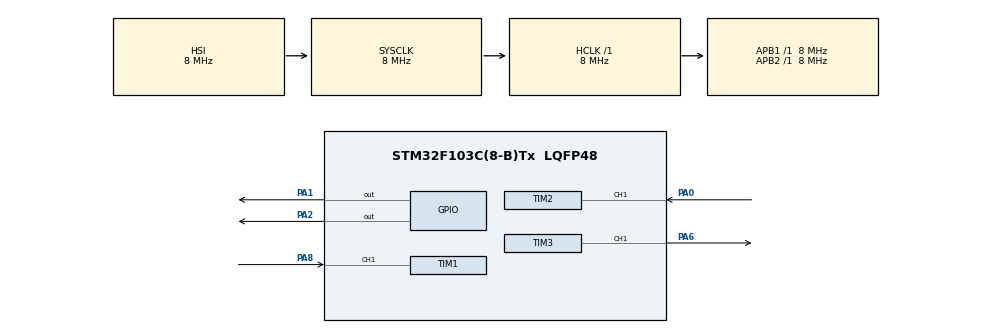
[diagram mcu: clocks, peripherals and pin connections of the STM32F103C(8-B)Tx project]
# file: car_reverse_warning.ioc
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Mcu.Family=STM32F1
Mcu.Name=STM32F103C(8-B)Tx
Mcu.Package=LQFP48
NVIC.PriorityGroup=NVIC_PRIORITYGROUP_4
NVIC.TIM1_CC_IRQn=true\:0\:0\:false\:false\:true\:true\:true\:true
NVIC.TIM2_IRQn=true\:0\:0\:false\:false\:true\:true\:true\:true
PA0-WKUP.Signal=S_TIM2_CH1_ETR
PA1.GPIO_ModeDefaultOutputPP=GPIO_MODE_OUTPUT_PP
PA1.GPIO_PuPd=GPIO_NOPULL
PA1.Signal=GPIO_Output
PA13.Mode=Serial_Wire
PA13.Signal=SYS_JTMS-SWDIO
PA14.Mode=Serial_Wire
PA14.Signal=SYS_JTCK-SWCLK
PA2.Signal=GPIO_Output
PA6.Signal=S_TIM3_CH1
PA8.Signal=S_TIM1_CH1
PD0-OSC_IN.Mode=HSE-External-Oscillator
PD0-OSC_IN.Signal=RCC_OSC_IN
PD1-OSC_OUT.Mode=HSE-External-Oscillator
PD1-OSC_OUT.Signal=RCC_OSC_OUT
ProjectManager.HeapSize=0x200
ProjectManager.StackSize=0x400
ProjectManager.TargetToolchain=STM32CubeIDE
RCC.AHBFreq_Value=8000000
RCC.APB1Freq_Value=8000000
RCC.APB1TimFreq_Value=8000000
RCC.APB2Freq_Value=8000000
RCC.APB2TimFreq_Value=8000000
RCC.HCLKFreq_Value=8000000
RCC.SYSCLKFreq_VALUE=8000000
RCC.USBFreq_Value=8000000
SH.S_TIM1_CH1.0=TIM1_CH1,Input_Capture1_from_TI1
SH.S_TIM2_CH1_ETR.0=TIM2_CH1,Input_Capture1_from_TI1
SH.S_TIM3_CH1.0=TIM3_CH1,PWM Generation1 CH1
TIM1.AutoReloadPreload=TIM_AUTORELOAD_PRELOAD_ENABLE
TIM1.Channel-Input_Capture1_from_TI1=TIM_CHANNEL_1
TIM1.Prescaler=79
TIM2.AutoReloadPreload=TIM_AUTORELOAD_PRELOAD_ENABLE
TIM2.Channel-Input_Capture1_from_TI1=TIM_CHANNEL_1
TIM2.ClockDivision=TIM_CLOCKDIVISION_DIV1
TIM2.Prescaler=7
TIM3.AutoReloadPreload=TIM_AUTORELOAD_PRELOAD_DISABLE
TIM3.Channel-PWM\ Generation1\ CH1=TIM_CHANNEL_1
TIM3.ClockDivision=TIM_CLOCKDIVISION_DIV1
TIM3.Period=19999
TIM3.Prescaler=7
TIM3.Pulse-PWM\ Generation1\ CH1=1000
VP_TIM1_VS_ClockSourceINT.Mode=Internal
VP_TIM2_VS_ClockSourceINT.Mode=Internal
VP_TIM3_VS_ClockSourceINT.Mode=Internal
board=custom

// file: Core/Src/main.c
/* USER CODE BEGIN Header */
/**
  ******************************************************************************
  * @file           : main.c
  * @brief          : Main program body
  ******************************************************************************
  * @attention
  *
  * Copyright (c) 2023 STMicroelectronics.
  * All rights reserved.
  *
  * This software is licensed under terms that can be found in the LICENSE file
  * in the root directory of this software component.
  * If no LICENSE file comes with this software, it is provided AS-IS.
  *
  ******************************************************************************
  */
/* USER CODE END Header */
#include "main.h"

/* USER CODE BEGIN Includes */
#include <stdio.h>
/* USER CODE END Includes */

TIM_HandleTypeDef htim1;
TIM_HandleTypeDef htim2;
TIM_HandleTypeDef htim3;

/* USER CODE BEGIN PV */
uint32_t turning_angles[]={725,825,925,1025,1125,1025,925,825};
uint8_t chosen_angle = 0;
double distance_factos[]={2,1.5,1,1.5,2,1.5,1,1.5};
uint32_t on_time = 0;
uint32_t off_time = 0;
uint32_t time_difference = 0;
uint8_t is_first_captured = 0;
double measured_distance = 0;
/* USER CODE END PV */

void SystemClock_Config(void);
static void MX_GPIO_Init(void);
static void MX_TIM1_Init(void);
static void MX_TIM2_Init(void);
static void MX_TIM3_Init(void);
/* USER CODE BEGIN PFP */
void delay(int time);
void hcsr04_read(void);
/* USER CODE END PFP */

/* USER CODE BEGIN 0 */

// Create function delay
void delay(int time)
{
  __HAL_TIM_SetCounter(&htim1, 0);
  while(__HAL_TIM_GetCounter(&htim1) < time);
}

// interrupt function input capture
void HAL_TIM_IC_CaptureCallback(TIM_HandleTypeDef *htim)
{
  if (htim->Channel == HAL_TIM_ACTIVE_CHANNEL_1)
  {
    if (is_first_captured == 0)
    {
      on_time = HAL_TIM_ReadCapturedValue(htim, TIM_CHANNEL_1);
      is_first_captured = 1;
      __HAL_TIM_SET_CAPTUREPOLARITY(htim, TIM_CHANNEL_1, TIM_INPUTCHANNELPOLARITY_FALLING);
    }
    else if (is_first_captured == 1)
    {
      off_time = HAL_TIM_ReadCapturedValue(htim, TIM_CHANNEL_1);
      __HAL_TIM_SET_COUNTER(htim, 0);
      if (off_time > on_time)
      {
        time_difference = off_time - on_time;
      }
      else if (on_time > off_time)
      {
        time_difference = (0xffff - on_time) + off_time;
      }
      measured_distance = time_difference * .0343/2;
      is_first_captured = 0;
      __HAL_TIM_SET_CAPTUREPOLARITY(htim, TIM_CHANNEL_1, TIM_INPUTCHANNELPOLARITY_RISING);
      HAL_TIM_IC_Stop_IT(&htim2, TIM_CHANNEL_1);
    }
  }
}

// measure distance function
void hcsr04_read(void)
{
  HAL_GPIO_WritePin(GPIOA, GPIO_PIN_1, GPIO_PIN_SET);
  delay(1);
  HAL_GPIO_WritePin(GPIOA, GPIO_PIN_1, GPIO_PIN_RESET);
  HAL_TIM_IC_Start_IT(&htim2, TIM_CHANNEL_1);
}
/* USER CODE END 0 */

int main(void)
{

  /* MCU Configuration--------------------------------------------------------*/

  /* Reset of all peripherals, Initializes the Flash interface and the Systick. */
  HAL_Init();

  /* Configure the system clock */
  SystemClock_Config();

  /* Initialize all configured peripherals */
  MX_GPIO_Init();
  MX_TIM1_Init();
  MX_TIM2_Init();
  MX_TIM3_Init();

  /* Infinite loop */
  /* USER CODE BEGIN WHILE */

  HAL_TIM_PWM_Start(&htim3, TIM_CHANNEL_1);
  HAL_TIM_IC_Start_IT(&htim1, TIM_CHANNEL_1);

  while (1)
  {
    // servo control
    chosen_angle = chosen_angle % 8;
    __HAL_TIM_SET_COMPARE(&htim3, TIM_CHANNEL_1, turning_angles[chosen_angle]);
    hcsr04_read();

    // warning
    if (measured_distance < 20)
    {
      HAL_GPIO_WritePin(GPIOA, GPIO_PIN_2, GPIO_PIN_SET);
    }
    else {
      HAL_GPIO_WritePin(GPIOA, GPIO_PIN_2, GPIO_PIN_RESET);
    }
    chosen_angle++;
    delay(10000);
    /* USER CODE END WHILE */

  }
}

void SystemClock_Config(void)
{
  RCC_OscInitTypeDef RCC_OscInitStruct = {0};
  RCC_ClkInitTypeDef RCC_ClkInitStruct = {0};

  /** Initializes the RCC Oscillators according to the specified parameters
  * in the RCC_OscInitTypeDef structure.
  */
  RCC_OscInitStruct.OscillatorType = RCC_OSCILLATORTYPE_HSI;
  RCC_OscInitStruct.HSIState = RCC_HSI_ON;
  RCC_OscInitStruct.HSICalibrationValue = RCC_HSICALIBRATION_DEFAULT;
  RCC_OscInitStruct.PLL.PLLState = RCC_PLL_NONE;
  if (HAL_RCC_OscConfig(&RCC_OscInitStruct) != HAL_OK)
  {
    Error_Handler();
  }

  /** Initializes the CPU, AHB and APB buses clocks
  */
  RCC_ClkInitStruct.ClockType = RCC_CLOCKTYPE_HCLK|RCC_CLOCKTYPE_SYSCLK
                              |RCC_CLOCKTYPE_PCLK1|RCC_CLOCKTYPE_PCLK2;
  RCC_ClkInitStruct.SYSCLKSource = RCC_SYSCLKSOURCE_HSI;
  RCC_ClkInitStruct.AHBCLKDivider = RCC_SYSCLK_DIV1;
  RCC_ClkInitStruct.APB1CLKDivider = RCC_HCLK_DIV1;
  RCC_ClkInitStruct.APB2CLKDivider = RCC_HCLK_DIV1;

  if (HAL_RCC_ClockConfig(&RCC_ClkInitStruct, FLASH_LATENCY_0) != HAL_OK)
  {
    Error_Handler();
  }
}

static void MX_TIM1_Init(void)
{

  TIM_ClockConfigTypeDef sClockSourceConfig = {0};
  TIM_MasterConfigTypeDef sMasterConfig = {0};
  TIM_IC_InitTypeDef sConfigIC = {0};

  htim1.Instance = TIM1;
  htim1.Init.Prescaler = 79;
  htim1.Init.CounterMode = TIM_COUNTERMODE_UP;
  htim1.Init.Period = 65535;
  htim1.Init.ClockDivision = TIM_CLOCKDIVISION_DIV1;
  htim1.Init.RepetitionCounter = 0;
  htim1.Init.AutoReloadPreload = TIM_AUTORELOAD_PRELOAD_ENABLE;
  if (HAL_TIM_Base_Init(&htim1) != HAL_OK)
  {
    Error_Handler();
  }
  sClockSourceConfig.ClockSource = TIM_CLOCKSOURCE_INTERNAL;
  if (HAL_TIM_ConfigClockSource(&htim1, &sClockSourceConfig) != HAL_OK)
  {
    Error_Handler();
  }
  if (HAL_TIM_IC_Init(&htim1) != HAL_OK)
  {
    Error_Handler();
  }
  sMasterConfig.MasterOutputTrigger = TIM_TRGO_RESET;
  sMasterConfig.MasterSlaveMode = TIM_MASTERSLAVEMODE_DISABLE;
  if (HAL_TIMEx_MasterConfigSynchronization(&htim1, &sMasterConfig) != HAL_OK)
  {
    Error_Handler();
  }
  sConfigIC.ICPolarity = TIM_INPUTCHANNELPOLARITY_RISING;
  sConfigIC.ICSelection = TIM_ICSELECTION_DIRECTTI;
  sConfigIC.ICPrescaler = TIM_ICPSC_DIV1;
  sConfigIC.ICFilter = 0;
  if (HAL_TIM_IC_ConfigChannel(&htim1, &sConfigIC, TIM_CHANNEL_1) != HAL_OK)
  {
    Error_Handler();
  }

}

static void MX_TIM2_Init(void)
{

  TIM_ClockConfigTypeDef sClockSourceConfig = {0};
  TIM_MasterConfigTypeDef sMasterConfig = {0};
  TIM_IC_InitTypeDef sConfigIC = {0};

  htim2.Instance = TIM2;
  htim2.Init.Prescaler = 7;
  htim2.Init.CounterMode = TIM_COUNTERMODE_UP;
  htim2.Init.Period = 65535;
  htim2.Init.ClockDivision = TIM_CLOCKDIVISION_DIV1;
  htim2.Init.AutoReloadPreload = TIM_AUTORELOAD_PRELOAD_ENABLE;
  if (HAL_TIM_Base_Init(&htim2) != HAL_OK)
  {
    Error_Handler();
  }
  sClockSourceConfig.ClockSource = TIM_CLOCKSOURCE_INTERNAL;
  if (HAL_TIM_ConfigClockSource(&htim2, &sClockSourceConfig) != HAL_OK)
  {
    Error_Handler();
  }
  if (HAL_TIM_IC_Init(&htim2) != HAL_OK)
  {
    Error_Handler();
  }
  sMasterConfig.MasterOutputTrigger = TIM_TRGO_RESET;
  sMasterConfig.MasterSlaveMode = TIM_MASTERSLAVEMODE_DISABLE;
  if (HAL_TIMEx_MasterConfigSynchronization(&htim2, &sMasterConfig) != HAL_OK)
  {
    Error_Handler();
  }
  sConfigIC.ICPolarity = TIM_INPUTCHANNELPOLARITY_RISING;
  sConfigIC.ICSelection = TIM_ICSELECTION_DIRECTTI;
  sConfigIC.ICPrescaler = TIM_ICPSC_DIV1;
  sConfigIC.ICFilter = 0;
  if (HAL_TIM_IC_ConfigChannel(&htim2, &sConfigIC, TIM_CHANNEL_1) != HAL_OK)
  {
    Error_Handler();
  }

}

static void MX_TIM3_Init(void)
{

  TIM_ClockConfigTypeDef sClockSourceConfig = {0};
  TIM_MasterConfigTypeDef sMasterConfig = {0};
  TIM_OC_InitTypeDef sConfigOC = {0};

  htim3.Instance = TIM3;
  htim3.Init.Prescaler = 7;
  htim3.Init.CounterMode = TIM_COUNTERMODE_UP;
  htim3.Init.Period = 19999;
  htim3.Init.ClockDivision = TIM_CLOCKDIVISION_DIV1;
  htim3.Init.AutoReloadPreload = TIM_AUTORELOAD_PRELOAD_DISABLE;
  if (HAL_TIM_Base_Init(&htim3) != HAL_OK)
  {
    Error_Handler();
  }
  sClockSourceConfig.ClockSource = TIM_CLOCKSOURCE_INTERNAL;
  if (HAL_TIM_ConfigClockSource(&htim3, &sClockSourceConfig) != HAL_OK)
  {
    Error_Handler();
  }
  if (HAL_TIM_PWM_Init(&htim3) != HAL_OK)
  {
    Error_Handler();
  }
  sMasterConfig.MasterOutputTrigger = TIM_TRGO_RESET;
  sMasterConfig.MasterSlaveMode = TIM_MASTERSLAVEMODE_DISABLE;
  if (HAL_TIMEx_MasterConfigSynchronization(&htim3, &sMasterConfig) != HAL_OK)
  {
    Error_Handler();
  }
  sConfigOC.OCMode = TIM_OCMODE_PWM1;
  sConfigOC.Pulse = 1000;
  sConfigOC.OCPolarity = TIM_OCPOLARITY_HIGH;
  sConfigOC.OCFastMode = TIM_OCFAST_DISABLE;
  if (HAL_TIM_PWM_ConfigChannel(&htim3, &sConfigOC, TIM_CHANNEL_1) != HAL_OK)
  {
    Error_Handler();
  }
  HAL_TIM_MspPostInit(&htim3);

}

static void MX_GPIO_Init(void)
{
  GPIO_InitTypeDef GPIO_InitStruct = {0};

  /* GPIO Ports Clock Enable */
  __HAL_RCC_GPIOD_CLK_ENABLE();
  __HAL_RCC_GPIOA_CLK_ENABLE();

  /*Configure GPIO pin Output Level */
  HAL_GPIO_WritePin(GPIOA, GPIO_PIN_1|GPIO_PIN_2, GPIO_PIN_RESET);

  /*Configure GPIO pins : PA1 PA2 */
  GPIO_InitStruct.Pin = GPIO_PIN_1|GPIO_PIN_2;
  GPIO_InitStruct.Mode = GPIO_MODE_OUTPUT_PP;
  GPIO_InitStruct.Pull = GPIO_NOPULL;
  GPIO_InitStruct.Speed = GPIO_SPEED_FREQ_LOW;
  HAL_GPIO_Init(GPIOA, &GPIO_InitStruct);

}

void Error_Handler(void)
{
  __disable_irq();
  while (1)
  {
  }
}
